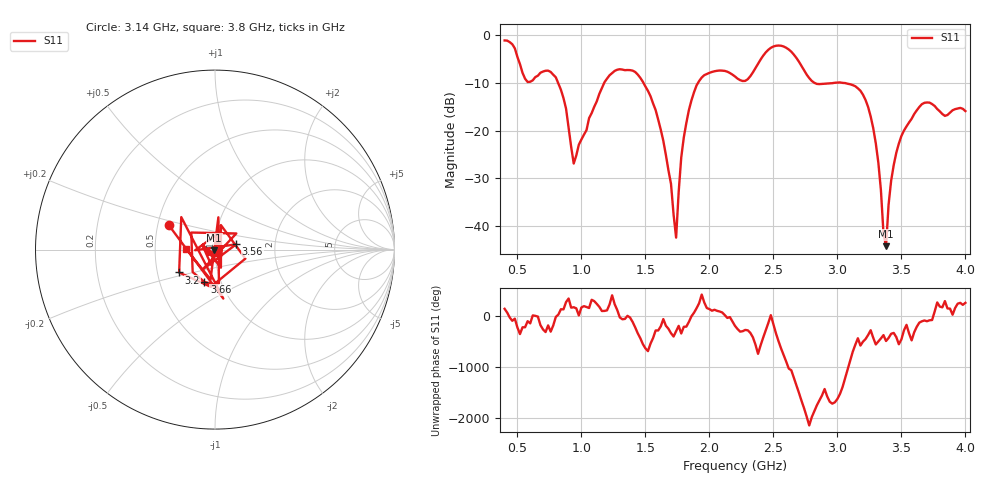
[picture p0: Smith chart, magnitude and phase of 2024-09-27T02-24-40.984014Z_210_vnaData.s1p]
!Created with skrf (http://scikit-rf.org).
# Hz S RI R 50.0
!freq ReS11 ImS11
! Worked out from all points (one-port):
!   181 points, 400 MHz to 4 GHz, reference 50 ohm
!   lowest |S11| = -44.2 dB at 3.38 GHz (marker M1), VSWR 1.01, Z = 49.6 - j0.439 ohm
!   |S11| at or under -10 dB: 817.6 MHz to 1.178 GHz (360.8 MHz wide, 36.2 % of centre); 1.484 GHz to 1.912 GHz (427.2 MHz wide, 25.2 % of centre); 3.036 GHz to end of sweep (the widest 3 of 4)
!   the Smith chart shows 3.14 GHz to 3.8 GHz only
!   S11 on the Smith chart (normalised r, x): 3.14 GHz: 0.57, +0.17; 3.2 GHz: 0.65, -0.18; 3.56 GHz: 1.27, +0.08; 3.66 GHz: 0.83, -0.31; 3.8 GHz: 0.73, +0.00
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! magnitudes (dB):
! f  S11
! 400 MHz  -1.2
! 580 MHz  -9.8
! 740 MHz  -7.5
! 860 MHz  -13.2
! 940 MHz  -26.9
! 1.18 GHz  -9.9
! 1.3 GHz  -7.2
! 1.44 GHz  -8.3
! 1.58 GHz  -15.7
! 1.7 GHz  -31.1
! 1.74 GHz  -42.4
! 1.76 GHz  -32.8
! 1.8 GHz  -21.4
! 1.9 GHz  -10.5
! 2.2 GHz  -8.7
! 2.5 GHz  -2.4
! 2.66 GHz  -4.1
! 2.82 GHz  -10.0
! 3.1 GHz  -10.3
! 3.14 GHz  -10.7
! 3.2 GHz  -12.5
! 3.3 GHz  -22.7
! 3.38 GHz  -44.2
! 3.44 GHz  -27.2
! 3.56 GHz  -18.3
! 3.66 GHz  -14.5
! 3.8 GHz  -16.0
! 4 GHz  -15.9
